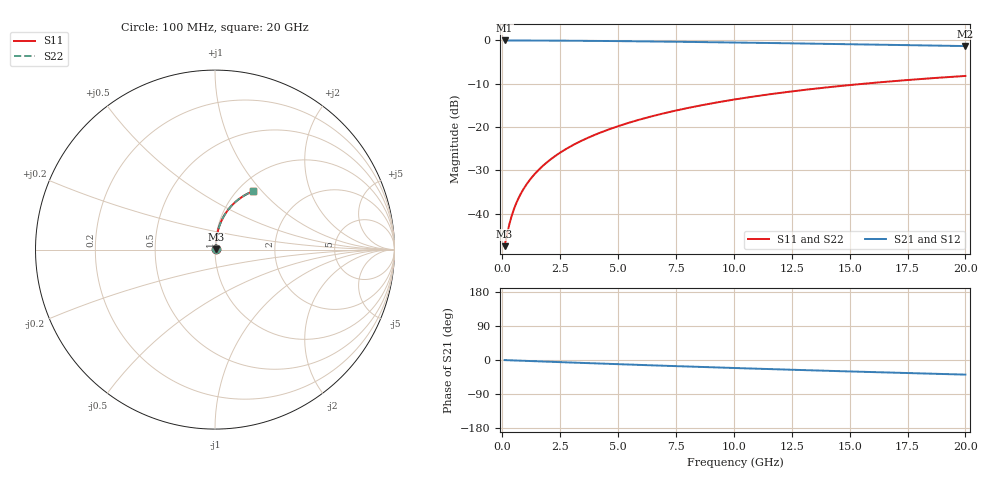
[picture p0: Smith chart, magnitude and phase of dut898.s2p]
! Touchstone file exported from HFSS 2024.1.0
!  File:  C:/UserFiles/LocalFiles/RDL_TSV_Batchsim/temp_RDL_bottom_898_1779866181.aedt
!  Generated:  03:19:18 PM May 27, 2026
!  Design:  RDL_bottom
!  Project:  temp_RDL_bottom_898_1779866181
!  Setup:  Setup1
!  Solution:  Sweep
! Variables:
!  dtsv = 10.80580581um
!  hbump = 3um
!  htsv = 94.28um
!  ldown = 506.78um
!  lrdl = 100um
!  p = 40
!  p1 = 50.59um
!  rhole = 1um
!  t = 450um
!  tdown = 2.75um
!  trdl = 3.915915916um
!  wdown = 19.21um
!  wrdl = 20um
# GHz S MA R 50.000000
! Terminal data exported
! Port[1] = RDL1_T1
! Port[2] = RDL1_T2
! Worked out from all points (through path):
!   200 points, 100 MHz to 20 GHz, reference 50 ohm
!   highest |S21| = -0.03 dB at 100 MHz (marker M1); lowest = -1.3 dB at 20 GHz (marker M2)
!   group delay of S21, straight-line fit = 5.33 ps
!   lowest |S11| = -47.5 dB at 100 MHz (marker M3), VSWR 1.01, Z = 50.4 + j0.218 ohm
!   |S11| at or under -10 dB: start of sweep to 15.65 GHz
!   |S22| runs from -47.5 to -8.2 dB; largest |S21 - S12| = 3.1e-15
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0.1  0.004216 30.9  0.9964 -0.2  0.9964 -0.2  0.004216 30.9
! Gamma 0 0 0 0
! Port Impedance 50 0 50 0
0.2  0.005681 49.2  0.9963 -0.5  0.9963 -0.5  0.005681 49.2
0.3  0.007456 58.9  0.9961 -0.7  0.9961 -0.7  0.007456 58.9
0.4  0.009328 64.7  0.996 -0.9  0.996 -0.9  0.009329 64.7
0.5  0.01123 68.4  0.9958 -1.2  0.9958 -1.2  0.01123 68.4
0.6  0.01314 71.0  0.9956 -1.4  0.9956 -1.4  0.01314 71.0
0.8  0.01698 74.6  0.9953 -1.8  0.9953 -1.8  0.01698 74.6
1.1  0.0228 77.7  0.9947 -2.5  0.9947 -2.5  0.0228 77.7
1.3  0.02671 79.0  0.9943 -3.0  0.9943 -3.0  0.02671 79.0
1.6  0.03262 80.4  0.9937 -3.6  0.9937 -3.6  0.03262 80.4
2.1  0.04257 81.6  0.9924 -4.7  0.9924 -4.7  0.04257 81.6
2.7  0.05465 82.2  0.9904 -6.1  0.9904 -6.1  0.05465 82.2
3.5  0.07097 82.3  0.9871 -7.8  0.9871 -7.8  0.07097 82.3
4.2  0.08542 82.0  0.9838 -9.3  0.9838 -9.3  0.08542 82.0
5  0.1021 81.3  0.9794 -11.1  0.9794 -11.1  0.1021 81.3
5.9  0.121 80.3  0.9739 -12.9  0.9739 -12.9  0.121 80.3
6.8  0.14 79.1  0.9678 -14.8  0.9678 -14.8  0.14 79.1
8.4  0.1738 76.7  0.9562 -18.0  0.9562 -18.0  0.1738 76.7
10.1  0.2092 73.9  0.9429 -21.3  0.9429 -21.3  0.2092 73.9
13.4  0.2747 68.1  0.9155 -27.4  0.9155 -27.4  0.2747 68.1
16.7  0.3347 62.4  0.8869 -33.1  0.8869 -33.1  0.3346 62.4
20  0.3881 56.9  0.8581 -38.5  0.8581 -38.5  0.3881 56.9
